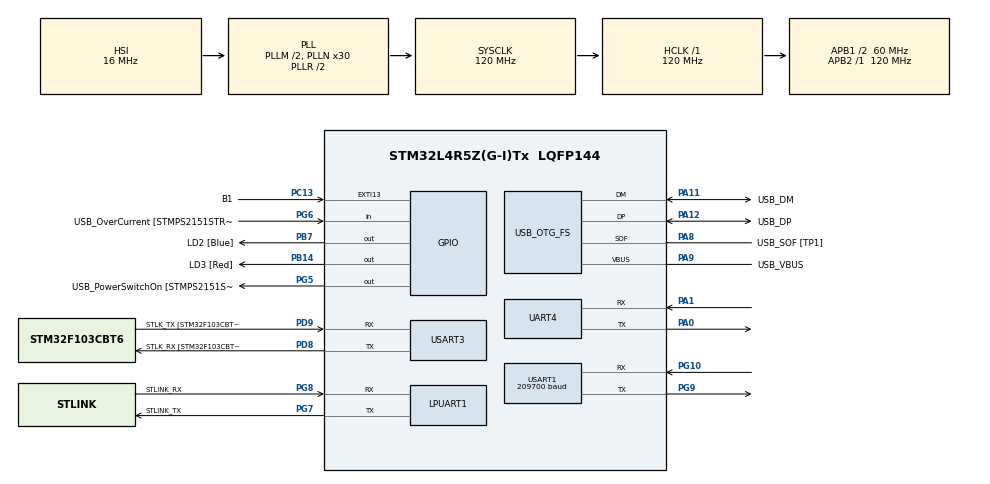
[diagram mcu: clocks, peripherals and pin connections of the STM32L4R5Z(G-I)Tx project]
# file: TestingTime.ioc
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Mcu.Family=STM32L4
Mcu.Name=STM32L4R5Z(G-I)Tx
Mcu.Package=LQFP144
NVIC.PriorityGroup=NVIC_PRIORITYGROUP_4
PA0.Mode=Asynchronous
PA0.Signal=UART4_TX
PA1.Mode=Asynchronous
PA1.Signal=UART4_RX
PA10.GPIO_Label=USB_ID
PA10.Signal=USB_OTG_FS_ID
PA11.GPIO_Label=USB_DM
PA11.Mode=Device_Only
PA11.Signal=USB_OTG_FS_DM
PA12.GPIO_Label=USB_DP
PA12.Mode=Device_Only
PA12.Signal=USB_OTG_FS_DP
PA13\ (JTMS/SWDIO).GPIO_Label=TMS
PA13\ (JTMS/SWDIO).Mode=Trace_Asynchronous_SW
PA13\ (JTMS/SWDIO).Signal=SYS_JTMS-SWDIO
PA14\ (JTCK/SWCLK).GPIO_Label=TCK
PA14\ (JTCK/SWCLK).Mode=Trace_Asynchronous_SW
PA14\ (JTCK/SWCLK).Signal=SYS_JTCK-SWCLK
PA8.GPIO_Label=USB_SOF [TP1]
PA8.Mode=Activate_SOF_FS
PA8.Signal=USB_OTG_FS_SOF
PA9.GPIO_Label=USB_VBUS
PA9.Mode=Activate_VBUS
PA9.Signal=USB_OTG_FS_VBUS
PB14.GPIO_Label=LD3 [Red]
PB14.Signal=GPIO_Output
PB3\ (JTDO/TRACESWO).GPIO_Label=SWO
PB3\ (JTDO/TRACESWO).Mode=Trace_Asynchronous_SW
PB3\ (JTDO/TRACESWO).Signal=SYS_JTDO-SWO
PB7.GPIO_Label=LD2 [Blue]
PB7.Signal=GPIO_Output
PC13.GPIO_Label=B1
PC13.Signal=GPXTI13
PC14-OSC32_IN\ (PC14).Mode=LSE-External-Oscillator
PC14-OSC32_IN\ (PC14).Signal=RCC_OSC32_IN
PC15-OSC32_OUT\ (PC15).Mode=LSE-External-Oscillator
PC15-OSC32_OUT\ (PC15).Signal=RCC_OSC32_OUT
PD8.GPIO_Label=STLK_RX [STM32F103CBT6_PA3]
PD8.Mode=Asynchronous
PD8.Signal=USART3_TX
PD9.GPIO_Label=STLK_TX [STM32F103CBT6_PA2]
PD9.Mode=Asynchronous
PD9.Signal=USART3_RX
PG10.Mode=Asynchronous
PG10.Signal=USART1_RX
PG5.GPIO_Label=USB_PowerSwitchOn [STMPS2151STR_EN]
PG5.Signal=GPIO_Output
PG6.GPIO_Label=USB_OverCurrent [STMPS2151STR_FAULT]
PG6.Signal=GPIO_Input
PG7.GPIO_Label=STLINK_TX
PG7.Mode=Asynchronous
PG7.Signal=LPUART1_TX
PG8.GPIO_Label=STLINK_RX
PG8.Mode=Asynchronous
PG8.Signal=LPUART1_RX
PG9.Mode=Asynchronous
PG9.Signal=USART1_TX
PH0-OSC_IN\ (PH0).Signal=RCC_OSC_IN
PH1-OSC_OUT\ (PH1).Signal=RCC_OSC_OUT
ProjectManager.HeapSize=0x200
ProjectManager.StackSize=0x400
ProjectManager.TargetToolchain=STM32CubeIDE
RCC.48MHZClocksFreq_Value=24000000
RCC.ADCFreq_Value=96000000
RCC.AHBFreq_Value=120000000
RCC.APB1CLKDivider=RCC_HCLK_DIV2
RCC.APB1Freq_Value=60000000
RCC.APB1TimFreq_Value=120000000
RCC.APB2Freq_Value=120000000
RCC.APB2TimFreq_Value=120000000
RCC.CK48CLockSelection=RCC_USBCLKSOURCE_HSI48
RCC.CortexFreq_Value=120000000
RCC.HCLKFreq_Value=120000000
RCC.HSE_VALUE=8000000
RCC.HSI48_VALUE=48000000
RCC.HSI_VALUE=16000000
RCC.MSI_VALUE=4000000
RCC.PLLM1=2
RCC.PLLMUL=RCC_PLL_MUL9
RCC.PLLN=30
RCC.PLLSAI1N=12
RCC.PLLSourceVirtual=RCC_PLLSOURCE_HSI
RCC.PRESCALERUSB=RCC_USBCLKSOURCE_PLL_DIV1_5
RCC.SYSCLKFreq_VALUE=120000000
RCC.SYSCLKSource=RCC_SYSCLKSOURCE_PLLCLK
RCC.SYSCLKSourceVirtual=RCC_SYSCLKSOURCE_PLLCLK
RCC.USBFreq_Value=48000000
RCC.VCOOutputFreq_Value=240000000
USART1.BaudRate=209700
USART1.VirtualMode-Asynchronous=VM_ASYNC
USART3.VirtualMode-Asynchronous=VM_ASYNC
USB_OTG_FS.VirtualMode=Device_Only
board=NUCLEO-L4R5ZI

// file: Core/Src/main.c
/* USER CODE BEGIN Header */
/**
  ******************************************************************************
  * @file           : main.c
  * @brief          : Main program body
  ******************************************************************************
  * @attention
  *
  * Copyright (c) 2022 STMicroelectronics.
  * All rights reserved.
  *
  * This software is licensed under terms that can be found in the LICENSE file
  * in the root directory of this software component.
  * If no LICENSE file comes with this software, it is provided AS-IS.
  *
  ******************************************************************************
  */
/* USER CODE END Header */
#include "main.h"

/* USER CODE BEGIN Includes */
#include <stdlib.h>
#include <stdbool.h>
#include <string.h>
/* USER CODE END Includes */

UART_HandleTypeDef hlpuart1;
UART_HandleTypeDef huart4;
UART_HandleTypeDef huart1;
UART_HandleTypeDef huart3;

PCD_HandleTypeDef hpcd_USB_OTG_FS;

void SystemClock_Config(void);
static void MX_GPIO_Init(void);
static void MX_LPUART1_UART_Init(void);
static void MX_USART3_UART_Init(void);
static void MX_USB_OTG_FS_PCD_Init(void);
static void MX_USART1_UART_Init(void);
static void MX_UART4_Init(void);

/* USER CODE BEGIN 0 */
uint8_t dataRec[300];

/* USER CODE END 0 */

int main(void)
{

  /* MCU Configuration--------------------------------------------------------*/

  /* Reset of all peripherals, Initializes the Flash interface and the Systick. */
  HAL_Init();

  /* Configure the system clock */
  SystemClock_Config();

  /* Initialize all configured peripherals */
  MX_GPIO_Init();
  MX_LPUART1_UART_Init();
  MX_USART3_UART_Init();
  MX_USB_OTG_FS_PCD_Init();
  MX_USART1_UART_Init();
  MX_UART4_Init();
  /* USER CODE BEGIN 2 */

  void rec2(){
	  uint8_t sen[67*300] = {0};
	  uint8_t sen1[67*300] = {0};
	  uint8_t sen2[67*300] = {0};
	  uint8_t sen3[67*300] = {0};
		  HAL_UART_Receive(&huart4, sen, 67*300, 10000);
		  HAL_UART_Receive(&huart4, sen1, 67*300, 10000);
		  HAL_UART_Receive(&huart4, sen2, 67*300, 10000);
		  HAL_UART_Receive(&huart4, sen3, 67*300, 10000);
		  HAL_UART_Transmit(&hlpuart1, (uint8_t*)sen, 67*300, 10000);
		  HAL_UART_Transmit(&hlpuart1, (uint8_t*)sen1, 67*300, 10000);
		  HAL_UART_Transmit(&hlpuart1, (uint8_t*)sen2, 67*300, 10000);
		  HAL_UART_Transmit(&hlpuart1, (uint8_t*)sen3, 67*300, 10000);
  }

  void receiveImage(){
  	 // receive first sentence, get total number of sentences and send
	  	  uint8_t sentence[300*67];
  		  // create group of 100 sentences
	  	  uint8_t group[100][69];
  		  // create counter for number of sentences
  		  int32_t SentencesNum = 0;
  		  // Declaration of enum for bool for loop
//  		  typedef enum { F, T } boolean;
  		  bool loop = 1;
  		  // initialize chars and ints for hex values
  		  uint8_t hexTotal[6] = "000000";
  		  uint8_t hexTotalcmp[6] = "000000";
//  		  memset(hexTotal, '0', 6);
  		  memset(sentence, '0', 67);
  		  int32_t totalSentences = 0;

  		  while(loop == 1){

  			  // get sentence
  			  HAL_UART_Receive(&huart4, sentence, 300*67, 10000);
  			  HAL_UART_Transmit(&hlpuart1, (uint8_t*)sentence, 300*67, 1000);

  			  // if no total exists, get it
  			  if(memcmp(hexTotal, hexTotalcmp, 3) == 0){
				  hexTotal[0] = '0';
				  hexTotal[1] = 'x';
				  strncpy(&hexTotal[2], &sentence[5], 4);

				 //HAL_UART_Transmit(&hlpuart1, (uint8_t*)hexTotal, 5, HAL_MAX_DELAY);

				  char *ptr;

				  totalSentences = (int)strtol(hexTotal, &ptr, 0);
  			  }

  			  // add sentence to group at index SentenceNum(starts at 0 and increases by 1 every iteration)
  			  strcpy(group[SentencesNum],sentence);
  			  SentencesNum += 1;
  			  //if SentencesNum becomes = to 100, write group to mem, and subtract 100 from totalSentences and make SentencesNum =0
  			  if(SentencesNum == 100){
  				  HAL_UART_Transmit(&hlpuart1, (uint8_t*)group, ((SentencesNum)*67), HAL_MAX_DELAY);
  				  //memWrite(CAMERA_DATA, group, ((sentencesNum)*67));

  				  totalSentences -= 100;
  				  SentencesNum = 0;
  				  // re initialize group to empty it
  				  char group[100][64];
  			  }

  			  // if totalSentences becomes less than 100 then break out of loop and use for loop to get the remaining sentences
  			  if(totalSentences < 100){
  				  loop = 0;
  			  }
  		  }

  		  // if totalSetences is less than 100, add the rest to group and write to mem
  		  	  if(totalSentences < 100){
  		  		HAL_UART_Transmit(&hlpuart1, (uint8_t*)"L", 1, HAL_MAX_DELAY);
  		  		  for(int i=0; i<totalSentences; i++){
  		  			// get sentence
  		  			HAL_UART_Receive(&huart4, (uint8_t*)sentence, 69, HAL_MAX_DELAY);
  		  			HAL_UART_Transmit(&hlpuart1, (uint8_t*)sentence, 69, HAL_MAX_DELAY);
  		  			strcpy(group[i],sentence);
  		  			SentencesNum += 1;
  		  		  }
  		  		  // once all are added then write group to mem
  		  		//memWrite(CAMERA_DATA, group, ((sentencesNum)*67));
  		  		HAL_UART_Transmit(&hlpuart1, (uint8_t*)"D", 1, HAL_MAX_DELAY);
  		  	  }

  		  // receive final telemetry sentence
  		  	HAL_UART_Receive(&huart4, (uint8_t*)sentence, 69, 1000);
  		  	//memWrite(CAMERA_DATA, group, 67);
  }

   enum Capture_Status{Transmit_Success, Wrong_input};

    /**
     * Transmits ASCII telecommand based on input
     * @param lighting - lighting should be a *lower case* char
     * 			d - daylight ambient light
     * 			m - medium ambient light
     * 			n - night ambient light
     * 			s - solar sail contrast and light
     */
    enum Capture_Status Capture_Image(bool enable_flash, uint8_t lighting_mode){

  	  switch(lighting_mode){
  	  case 'd':
  		  if(enable_flash){
  			  HAL_UART_Transmit(&huart4, (uint8_t*)"D", 1, HAL_MAX_DELAY);
  			  HAL_Delay(25);
  		  }
  		  else{
  			  HAL_UART_Transmit(&huart4, (uint8_t*)"d", 1, HAL_MAX_DELAY);
  			  HAL_Delay(25);
  		  }
//  		  receiveImage();
  		  rec2();
  		  return Transmit_Success;
  	  case 'm':
  	  		  if(enable_flash){
  	  			  HAL_UART_Transmit(&hlpuart1, (uint8_t*)"M", 1, HAL_MAX_DELAY);
  	  			  HAL_Delay(25);
  	  		  }
  	  		  else{
  	  			  HAL_UART_Transmit(&hlpuart1, (uint8_t*)"m", 1, HAL_MAX_DELAY);
  	  			  HAL_Delay(25);
  	  		  }
  	  		receiveImage();
  	  		return Transmit_Success;
  	  case 'n':
  	  		  if(enable_flash){
  	  			  HAL_UART_Transmit(&hlpuart1, (uint8_t*)"N", 1, HAL_MAX_DELAY);
  	  			  HAL_Delay(25);
  	  		  }
  	  		  else{
  	  			  HAL_UART_Transmit(&hlpuart1, (uint8_t*)"n", 1, HAL_MAX_DELAY);
  	  			  HAL_Delay(25);
  	  		  }
  	  		receiveImage();
  	  		return Transmit_Success;
  	  case 's':
  	  		  if(enable_flash){
  	  			  HAL_UART_Transmit(&hlpuart1, (uint8_t*)"S", 1, HAL_MAX_DELAY);
  	  			  HAL_Delay(25);
  	  		  }
  	  		  else{
  	  			  HAL_UART_Transmit(&huart4, (uint8_t*)"s", 1, HAL_MAX_DELAY);
  	  			  HAL_Delay(25);
  	  		  }
//  	  		  receiveImage();
  	  		rec2();
  	  		return Transmit_Success;
  	  default:
  		  return Wrong_input;
  	  }

    }

uint8_t noFT[3] = {3,1,8};
const char *m = "t";

//HAL_UART_Transmit(&hlpuart1, (uint8_t*)m, 1, HAL_MAX_DELAY);

//HAL_UART_Receive(&hlpuart1, (uint8_t*)dataRec, 64, HAL_MAX_DELAY);
//HAL_UART_Receive_DMA(&hlpuart1, dataRec, 65);
//Capture_Image(true, 'm');

  /* USER CODE END 2 */

  /* Infinite loop */
  /* USER CODE BEGIN WHILE */
  while (1)
  {
	  HAL_UART_Receive(&hlpuart1, (uint8_t*)dataRec, 1, HAL_MAX_DELAY);
	  Capture_Image(false, dataRec[0]);

    /* USER CODE END WHILE */

  }
}

void SystemClock_Config(void)
{
  RCC_OscInitTypeDef RCC_OscInitStruct = {0};
  RCC_ClkInitTypeDef RCC_ClkInitStruct = {0};

  /** Configure the main internal regulator output voltage
  */
  if (HAL_PWREx_ControlVoltageScaling(PWR_REGULATOR_VOLTAGE_SCALE1_BOOST) != HAL_OK)
  {
    Error_Handler();
  }

  /** Initializes the RCC Oscillators according to the specified parameters
  * in the RCC_OscInitTypeDef structure.
  */
  RCC_OscInitStruct.OscillatorType = RCC_OSCILLATORTYPE_HSI48|RCC_OSCILLATORTYPE_HSI;
  RCC_OscInitStruct.HSIState = RCC_HSI_ON;
  RCC_OscInitStruct.HSI48State = RCC_HSI48_ON;
  RCC_OscInitStruct.HSICalibrationValue = RCC_HSICALIBRATION_DEFAULT;
  RCC_OscInitStruct.PLL.PLLState = RCC_PLL_ON;
  RCC_OscInitStruct.PLL.PLLSource = RCC_PLLSOURCE_HSI;
  RCC_OscInitStruct.PLL.PLLM = 2;
  RCC_OscInitStruct.PLL.PLLN = 30;
  RCC_OscInitStruct.PLL.PLLP = RCC_PLLP_DIV2;
  RCC_OscInitStruct.PLL.PLLQ = RCC_PLLQ_DIV2;
  RCC_OscInitStruct.PLL.PLLR = RCC_PLLR_DIV2;
  if (HAL_RCC_OscConfig(&RCC_OscInitStruct) != HAL_OK)
  {
    Error_Handler();
  }

  /** Initializes the CPU, AHB and APB buses clocks
  */
  RCC_ClkInitStruct.ClockType = RCC_CLOCKTYPE_HCLK|RCC_CLOCKTYPE_SYSCLK
                              |RCC_CLOCKTYPE_PCLK1|RCC_CLOCKTYPE_PCLK2;
  RCC_ClkInitStruct.SYSCLKSource = RCC_SYSCLKSOURCE_PLLCLK;
  RCC_ClkInitStruct.AHBCLKDivider = RCC_SYSCLK_DIV1;
  RCC_ClkInitStruct.APB1CLKDivider = RCC_HCLK_DIV2;
  RCC_ClkInitStruct.APB2CLKDivider = RCC_HCLK_DIV1;

  if (HAL_RCC_ClockConfig(&RCC_ClkInitStruct, FLASH_LATENCY_5) != HAL_OK)
  {
    Error_Handler();
  }
}

static void MX_LPUART1_UART_Init(void)
{

  hlpuart1.Instance = LPUART1;
  hlpuart1.Init.BaudRate = 209700;
  hlpuart1.Init.WordLength = UART_WORDLENGTH_8B;
  hlpuart1.Init.StopBits = UART_STOPBITS_1;
  hlpuart1.Init.Parity = UART_PARITY_NONE;
  hlpuart1.Init.Mode = UART_MODE_TX_RX;
  hlpuart1.Init.HwFlowCtl = UART_HWCONTROL_NONE;
  hlpuart1.Init.OneBitSampling = UART_ONE_BIT_SAMPLE_DISABLE;
  hlpuart1.Init.ClockPrescaler = UART_PRESCALER_DIV1;
  hlpuart1.AdvancedInit.AdvFeatureInit = UART_ADVFEATURE_NO_INIT;
  hlpuart1.FifoMode = UART_FIFOMODE_DISABLE;
  if (HAL_UART_Init(&hlpuart1) != HAL_OK)
  {
    Error_Handler();
  }
  if (HAL_UARTEx_SetTxFifoThreshold(&hlpuart1, UART_TXFIFO_THRESHOLD_1_8) != HAL_OK)
  {
    Error_Handler();
  }
  if (HAL_UARTEx_SetRxFifoThreshold(&hlpuart1, UART_RXFIFO_THRESHOLD_1_8) != HAL_OK)
  {
    Error_Handler();
  }
  if (HAL_UARTEx_DisableFifoMode(&hlpuart1) != HAL_OK)
  {
    Error_Handler();
  }

}

static void MX_UART4_Init(void)
{

  huart4.Instance = UART4;
  huart4.Init.BaudRate = 115200;
  huart4.Init.WordLength = UART_WORDLENGTH_8B;
  huart4.Init.StopBits = UART_STOPBITS_1;
  huart4.Init.Parity = UART_PARITY_NONE;
  huart4.Init.Mode = UART_MODE_TX_RX;
  huart4.Init.HwFlowCtl = UART_HWCONTROL_NONE;
  huart4.Init.OverSampling = UART_OVERSAMPLING_16;
  huart4.Init.OneBitSampling = UART_ONE_BIT_SAMPLE_DISABLE;
  huart4.Init.ClockPrescaler = UART_PRESCALER_DIV1;
  huart4.AdvancedInit.AdvFeatureInit = UART_ADVFEATURE_NO_INIT;
  if (HAL_UART_Init(&huart4) != HAL_OK)
  {
    Error_Handler();
  }
  if (HAL_UARTEx_SetTxFifoThreshold(&huart4, UART_TXFIFO_THRESHOLD_1_8) != HAL_OK)
  {
    Error_Handler();
  }
  if (HAL_UARTEx_SetRxFifoThreshold(&huart4, UART_RXFIFO_THRESHOLD_1_8) != HAL_OK)
  {
    Error_Handler();
  }
  if (HAL_UARTEx_DisableFifoMode(&huart4) != HAL_OK)
  {
    Error_Handler();
  }

}

static void MX_USART1_UART_Init(void)
{

  huart1.Instance = USART1;
  huart1.Init.BaudRate = 209700;
  huart1.Init.WordLength = UART_WORDLENGTH_8B;
  huart1.Init.StopBits = UART_STOPBITS_1;
  huart1.Init.Parity = UART_PARITY_NONE;
  huart1.Init.Mode = UART_MODE_TX_RX;
  huart1.Init.HwFlowCtl = UART_HWCONTROL_NONE;
  huart1.Init.OverSampling = UART_OVERSAMPLING_16;
  huart1.Init.OneBitSampling = UART_ONE_BIT_SAMPLE_DISABLE;
  huart1.Init.ClockPrescaler = UART_PRESCALER_DIV1;
  huart1.AdvancedInit.AdvFeatureInit = UART_ADVFEATURE_NO_INIT;
  if (HAL_UART_Init(&huart1) != HAL_OK)
  {
    Error_Handler();
  }
  if (HAL_UARTEx_SetTxFifoThreshold(&huart1, UART_TXFIFO_THRESHOLD_1_8) != HAL_OK)
  {
    Error_Handler();
  }
  if (HAL_UARTEx_SetRxFifoThreshold(&huart1, UART_RXFIFO_THRESHOLD_1_8) != HAL_OK)
  {
    Error_Handler();
  }
  if (HAL_UARTEx_DisableFifoMode(&huart1) != HAL_OK)
  {
    Error_Handler();
  }

}

static void MX_USART3_UART_Init(void)
{

  huart3.Instance = USART3;
  huart3.Init.BaudRate = 115200;
  huart3.Init.WordLength = UART_WORDLENGTH_8B;
  huart3.Init.StopBits = UART_STOPBITS_1;
  huart3.Init.Parity = UART_PARITY_NONE;
  huart3.Init.Mode = UART_MODE_TX_RX;
  huart3.Init.HwFlowCtl = UART_HWCONTROL_NONE;
  huart3.Init.OverSampling = UART_OVERSAMPLING_16;
  huart3.Init.OneBitSampling = UART_ONE_BIT_SAMPLE_DISABLE;
  huart3.Init.ClockPrescaler = UART_PRESCALER_DIV1;
  huart3.AdvancedInit.AdvFeatureInit = UART_ADVFEATURE_NO_INIT;
  if (HAL_UART_Init(&huart3) != HAL_OK)
  {
    Error_Handler();
  }
  if (HAL_UARTEx_SetTxFifoThreshold(&huart3, UART_TXFIFO_THRESHOLD_1_8) != HAL_OK)
  {
    Error_Handler();
  }
  if (HAL_UARTEx_SetRxFifoThreshold(&huart3, UART_RXFIFO_THRESHOLD_1_8) != HAL_OK)
  {
    Error_Handler();
  }
  if (HAL_UARTEx_DisableFifoMode(&huart3) != HAL_OK)
  {
    Error_Handler();
  }

}

static void MX_USB_OTG_FS_PCD_Init(void)
{

  hpcd_USB_OTG_FS.Instance = USB_OTG_FS;
  hpcd_USB_OTG_FS.Init.dev_endpoints = 6;
  hpcd_USB_OTG_FS.Init.speed = PCD_SPEED_FULL;
  hpcd_USB_OTG_FS.Init.phy_itface = PCD_PHY_EMBEDDED;
  hpcd_USB_OTG_FS.Init.Sof_enable = ENABLE;
  hpcd_USB_OTG_FS.Init.low_power_enable = DISABLE;
  hpcd_USB_OTG_FS.Init.lpm_enable = DISABLE;
  hpcd_USB_OTG_FS.Init.battery_charging_enable = ENABLE;
  hpcd_USB_OTG_FS.Init.use_dedicated_ep1 = DISABLE;
  hpcd_USB_OTG_FS.Init.vbus_sensing_enable = ENABLE;
  if (HAL_PCD_Init(&hpcd_USB_OTG_FS) != HAL_OK)
  {
    Error_Handler();
  }

}

static void MX_GPIO_Init(void)
{
  GPIO_InitTypeDef GPIO_InitStruct = {0};

  /* GPIO Ports Clock Enable */
  __HAL_RCC_GPIOC_CLK_ENABLE();
  __HAL_RCC_GPIOH_CLK_ENABLE();
  __HAL_RCC_GPIOA_CLK_ENABLE();
  __HAL_RCC_GPIOB_CLK_ENABLE();
  __HAL_RCC_GPIOD_CLK_ENABLE();
  __HAL_RCC_GPIOG_CLK_ENABLE();
  HAL_PWREx_EnableVddIO2();

  /*Configure GPIO pin Output Level */
  HAL_GPIO_WritePin(GPIOB, LD3_Pin|LD2_Pin, GPIO_PIN_RESET);

  /*Configure GPIO pin Output Level */
  HAL_GPIO_WritePin(USB_PowerSwitchOn_GPIO_Port, USB_PowerSwitchOn_Pin, GPIO_PIN_RESET);

  /*Configure GPIO pin : B1_Pin */
  GPIO_InitStruct.Pin = B1_Pin;
  GPIO_InitStruct.Mode = GPIO_MODE_IT_RISING;
  GPIO_InitStruct.Pull = GPIO_NOPULL;
  HAL_GPIO_Init(B1_GPIO_Port, &GPIO_InitStruct);

  /*Configure GPIO pins : LD3_Pin LD2_Pin */
  GPIO_InitStruct.Pin = LD3_Pin|LD2_Pin;
  GPIO_InitStruct.Mode = GPIO_MODE_OUTPUT_PP;
  GPIO_InitStruct.Pull = GPIO_NOPULL;
  GPIO_InitStruct.Speed = GPIO_SPEED_FREQ_LOW;
  HAL_GPIO_Init(GPIOB, &GPIO_InitStruct);

  /*Configure GPIO pin : USB_PowerSwitchOn_Pin */
  GPIO_InitStruct.Pin = USB_PowerSwitchOn_Pin;
  GPIO_InitStruct.Mode = GPIO_MODE_OUTPUT_PP;
  GPIO_InitStruct.Pull = GPIO_NOPULL;
  GPIO_InitStruct.Speed = GPIO_SPEED_FREQ_LOW;
  HAL_GPIO_Init(USB_PowerSwitchOn_GPIO_Port, &GPIO_InitStruct);

  /*Configure GPIO pin : USB_OverCurrent_Pin */
  GPIO_InitStruct.Pin = USB_OverCurrent_Pin;
  GPIO_InitStruct.Mode = GPIO_MODE_INPUT;
  GPIO_InitStruct.Pull = GPIO_NOPULL;
  HAL_GPIO_Init(USB_OverCurrent_GPIO_Port, &GPIO_InitStruct);

}

/* USER CODE BEGIN 4 */
void HAL_UART_RxCpltCallback(UART_HandleTypeDef *hlpuart1)
{
	//toggle red to show
	HAL_GPIO_TogglePin(GPIOB, GPIO_PIN_14);

	//HAL_UART_Transmit(&hlpuart1, (uint8_t*)dataRec, 65, HAL_MAX_DELAY);

    HAL_UART_Receive_DMA(hlpuart1, dataRec, 65);
}
/* USER CODE END 4 */

void Error_Handler(void)
{
  __disable_irq();
  while (1)
  {
  }
}
